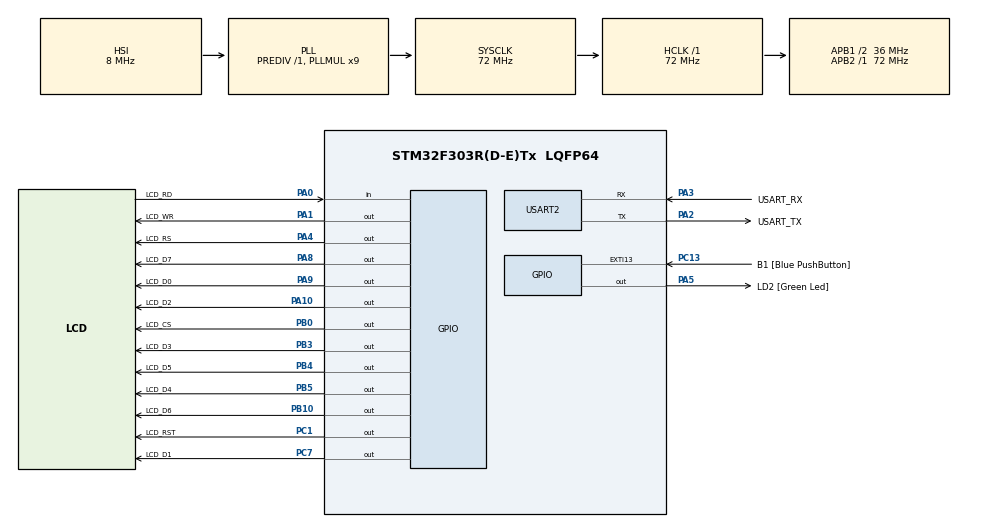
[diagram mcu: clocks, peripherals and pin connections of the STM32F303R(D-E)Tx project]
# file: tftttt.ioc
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Mcu.Family=STM32F3
Mcu.Name=STM32F303R(D-E)Tx
Mcu.Package=LQFP64
NVIC.PriorityGroup=NVIC_PRIORITYGROUP_0
PA0.GPIO_Label=LCD_RD
PA0.Signal=GPIO_Input
PA1.GPIO_Label=LCD_WR
PA1.Signal=GPIO_Output
PA10.GPIO_Label=LCD_D2
PA10.Signal=GPIO_Output
PA13.GPIO_Label=TMS
PA13.Mode=Serial_Wire
PA13.Signal=SYS_JTMS-SWDIO
PA14.GPIO_Label=TCK
PA14.Mode=Serial_Wire
PA14.Signal=SYS_JTCK-SWCLK
PA2.GPIO_Label=USART_TX
PA2.GPIO_Mode=GPIO_MODE_AF_PP
PA2.GPIO_PuPd=GPIO_NOPULL
PA2.GPIO_Speed=GPIO_SPEED_FREQ_LOW
PA2.Mode=Asynchronous
PA2.Signal=USART2_TX
PA3.GPIO_Label=USART_RX
PA3.GPIO_Mode=GPIO_MODE_AF_PP
PA3.GPIO_PuPd=GPIO_NOPULL
PA3.GPIO_Speed=GPIO_SPEED_FREQ_LOW
PA3.Mode=Asynchronous
PA3.Signal=USART2_RX
PA4.GPIO_Label=LCD_RS
PA4.Signal=GPIO_Output
PA5.GPIO_Label=LD2 [Green Led]
PA5.GPIO_Mode=GPIO_MODE_OUTPUT_PP
PA5.GPIO_PuPd=GPIO_NOPULL
PA5.GPIO_Speed=GPIO_SPEED_FREQ_LOW
PA5.Signal=GPIO_Output
PA8.GPIO_Label=LCD_D7
PA8.Signal=GPIO_Output
PA9.GPIO_Label=LCD_D0
PA9.Signal=GPIO_Output
PB0.GPIO_Label=LCD_CS
PB0.Signal=GPIO_Output
PB10.GPIO_Label=LCD_D6
PB10.Signal=GPIO_Output
PB3.GPIO_Label=LCD_D3
PB3.Signal=GPIO_Output
PB4.GPIO_Label=LCD_D5
PB4.Signal=GPIO_Output
PB5.GPIO_Label=LCD_D4
PB5.Signal=GPIO_Output
PC1.GPIO_Label=LCD_RST
PC1.Signal=GPIO_Output
PC13.GPIO_Label=B1 [Blue PushButton]
PC13.GPIO_ModeDefaultEXTI=GPIO_MODE_IT_FALLING
PC13.Signal=GPXTI13
PC14-OSC32_IN.Mode=LSE-External-Oscillator
PC14-OSC32_IN.Signal=RCC_OSC32_IN
PC15-OSC32_OUT.Mode=LSE-External-Oscillator
PC15-OSC32_OUT.Signal=RCC_OSC32_OUT
PC7.GPIO_Label=LCD_D1
PC7.Signal=GPIO_Output
PF0-OSC_IN.Mode=HSE-External-Clock-Source
PF0-OSC_IN.Signal=RCC_OSC_IN
PF1-OSC_OUT.Signal=RCC_OSC_OUT
ProjectManager.HeapSize=0x200
ProjectManager.StackSize=0x400
ProjectManager.TargetToolchain=STM32CubeIDE
RCC.AHBFreq_Value=72000000
RCC.APB1CLKDivider=RCC_HCLK_DIV2
RCC.APB1Freq_Value=36000000
RCC.APB1TimFreq_Value=72000000
RCC.APB2Freq_Value=72000000
RCC.APB2TimFreq_Value=72000000
RCC.CortexFreq_Value=72000000
RCC.HCLKFreq_Value=72000000
RCC.HSE_VALUE=8000000
RCC.HSI_VALUE=8000000
RCC.PLLM=8
RCC.PLLMUL=RCC_PLL_MUL9
RCC.PLLN=336
RCC.PLLP=RCC_PLLP_DIV4
RCC.PLLQ=7
RCC.RCC_PLLsource_Clock_Source_FROM_HSE=RCC_HSE_PREDIV_DIV2
RCC.SYSCLKFreq_VALUE=72000000
RCC.SYSCLKSourceVirtual=RCC_SYSCLKSOURCE_PLLCLK
RCC.USBFreq_Value=72000000
TIM2.Prescaler=0
USART2.VirtualMode-Asynchronous=VM_ASYNC
VP_TIM2_VS_ClockSourceINT.Mode=Internal
board=NUCLEO-F303RE

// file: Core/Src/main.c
/* USER CODE BEGIN Header */
/**
  ******************************************************************************
  * @file           : main.c
  * @brief          : Main program body
  ******************************************************************************
  * @attention
  *
  * Copyright (c) 2023 STMicroelectronics.
  * All rights reserved.
  *
  * This software is licensed under terms that can be found in the LICENSE file
  * in the root directory of this software component.
  * If no LICENSE file comes with this software, it is provided AS-IS.
  *
  ******************************************************************************
  */
/* USER CODE END Header */
#include "main.h"
#include "tim.h"
#include "usart.h"
#include "gpio.h"

/* USER CODE BEGIN Includes */
#include "fonts.h"
#include "tft.h"
#include "user_setting.h"
#include "functions.h"
/* USER CODE END Includes */

void SystemClock_Config(void);

/* USER CODE BEGIN 0 */
uint16_t ID = 0;
/* USER CODE END 0 */

int main(void)
{

  /* MCU Configuration--------------------------------------------------------*/

  /* Reset of all peripherals, Initializes the Flash interface and the Systick. */
  HAL_Init();

  /* Configure the system clock */
  SystemClock_Config();

  /* Initialize all configured peripherals */
  MX_GPIO_Init();
  MX_USART2_UART_Init();
  MX_TIM2_Init();
  /* USER CODE BEGIN 2 */
  HAL_TIM_Base_Start(&htim2);

  ID = readID();
  HAL_Delay(100);
  tft_init(ID);

  setRotation(0);
  fillScreen(BLACK);

  testFillScreen();
  testLines(CYAN);
  testFastLines(RED, BLUE);
  testFilledCircles(10, MAGENTA);
  testCircles(10, WHITE);

  fillScreen(BLACK);
  setRotation(0);
  printnewtstr(100, RED, &mono12x7bold, 2, "HOLA");
  /* USER CODE END 2 */

  /* Infinite loop */
  while (1)
  {

  }
}

void SystemClock_Config(void)
{
  RCC_OscInitTypeDef RCC_OscInitStruct = {0};
  RCC_ClkInitTypeDef RCC_ClkInitStruct = {0};
  RCC_PeriphCLKInitTypeDef PeriphClkInit = {0};

  /** Initializes the RCC Oscillators according to the specified parameters
  * in the RCC_OscInitTypeDef structure.
  */
  RCC_OscInitStruct.OscillatorType = RCC_OSCILLATORTYPE_HSI;
  RCC_OscInitStruct.HSIState = RCC_HSI_ON;
  RCC_OscInitStruct.HSICalibrationValue = RCC_HSICALIBRATION_DEFAULT;
  RCC_OscInitStruct.PLL.PLLState = RCC_PLL_ON;
  RCC_OscInitStruct.PLL.PLLSource = RCC_PLLSOURCE_HSI;
  RCC_OscInitStruct.PLL.PLLMUL = RCC_PLL_MUL9;
  RCC_OscInitStruct.PLL.PREDIV = RCC_PREDIV_DIV1;
  if (HAL_RCC_OscConfig(&RCC_OscInitStruct) != HAL_OK)
  {
    Error_Handler();
  }

  /** Initializes the CPU, AHB and APB buses clocks
  */
  RCC_ClkInitStruct.ClockType = RCC_CLOCKTYPE_HCLK|RCC_CLOCKTYPE_SYSCLK
                              |RCC_CLOCKTYPE_PCLK1|RCC_CLOCKTYPE_PCLK2;
  RCC_ClkInitStruct.SYSCLKSource = RCC_SYSCLKSOURCE_PLLCLK;
  RCC_ClkInitStruct.AHBCLKDivider = RCC_SYSCLK_DIV1;
  RCC_ClkInitStruct.APB1CLKDivider = RCC_HCLK_DIV2;
  RCC_ClkInitStruct.APB2CLKDivider = RCC_HCLK_DIV1;

  if (HAL_RCC_ClockConfig(&RCC_ClkInitStruct, FLASH_LATENCY_2) != HAL_OK)
  {
    Error_Handler();
  }
  PeriphClkInit.PeriphClockSelection = RCC_PERIPHCLK_USART2|RCC_PERIPHCLK_TIM2;
  PeriphClkInit.Usart2ClockSelection = RCC_USART2CLKSOURCE_PCLK1;
  PeriphClkInit.Tim2ClockSelection = RCC_TIM2CLK_HCLK;
  if (HAL_RCCEx_PeriphCLKConfig(&PeriphClkInit) != HAL_OK)
  {
    Error_Handler();
  }
}

void Error_Handler(void)
{
  __disable_irq();
  while (1)
  {
  }
}
